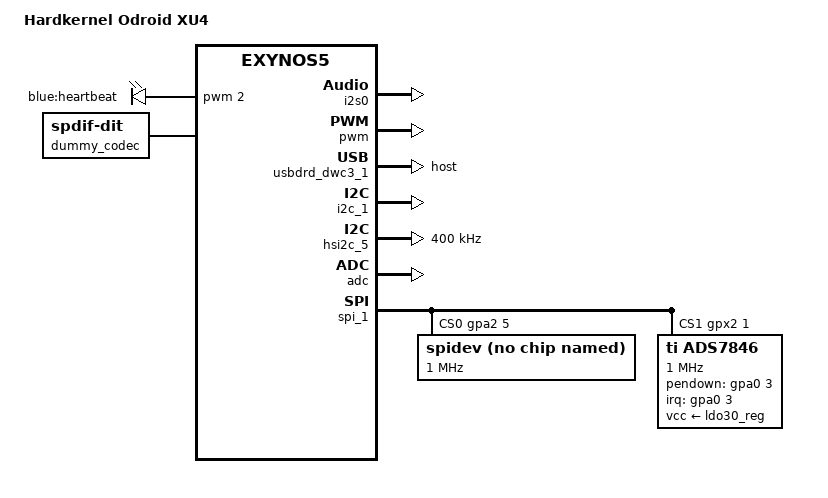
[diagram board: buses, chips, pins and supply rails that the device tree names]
/*
 * Hardkernel Odroid XU4 board device tree source
 *
 * Copyright (c) 2015 Krzysztof Kozlowski
 * Copyright (c) 2014 Collabora Ltd.
 * Copyright (c) 2013-2015 Samsung Electronics Co., Ltd.
 *		http://www.samsung.com
 *
 * This program is free software; you can redistribute it and/or modify
 * it under the terms of the GNU General Public License version 2 as
 * published by the Free Software Foundation.
*/

/dts-v1/;
#include <dt-bindings/sound/samsung-i2s.h>
#include "exynos5422-odroidxu3-common.dtsi"
#include <dt-bindings/gpio/gpio.h>

/ {
	model = "Hardkernel Odroid XU4";
	compatible = "hardkernel,odroid-xu4", "samsung,exynos5800", \
		     "samsung,exynos5";

	pwmleds {
		compatible = "pwm-leds";

		blueled {
			label = "blue:heartbeat";
			pwms = <&pwm 2 2000000 0>;
			pwm-names = "pwm2";
			max_brightness = <255>;
			linux,default-trigger = "heartbeat";
		};
	};

	dummy_codec: spdif-transmitter {
		compatible = "linux,spdif-dit";
		#sound-dai-cells = <0>;
		status = "okay";
	};

	sound: sound {
		compatible = "samsung,odroid-xu3-audio";
		model = "Odroid-XU4";

		clocks = <&clock CLK_FOUT_EPLL>,
			<&clock CLK_MOUT_EPLL>,
			<&clock CLK_MOUT_MAU_EPLL>,
			<&clock CLK_MOUT_USER_MAU_EPLL>,
			<&clock_audss EXYNOS_MOUT_AUDSS>,
			<&clock_audss EXYNOS_MOUT_I2S>,
			<&clock_audss EXYNOS_DOUT_SRP>,
			<&clock_audss EXYNOS_DOUT_AUD_BUS>,
			<&clock CLK_MAU_EPLL>;
		clock-names = "fout_epll", "mout_sclk_epll",
			"mout_mau_epll","mout_mau_epll_user",
			"mout_audss", "mout_i2s",
			"dout_srp","dout_aud_bus",
			"mau_epll_clk";

		cpu {
			sound-dai = <&i2s0 0>;
		};

		codec {
			sound-dai = <&dummy_codec>, <&hdmi>;
		};
	};
};

&i2s0 {
	status = "okay";
};

&pwm {
	/*
	 * PWM 0 -- fan
	 * PWM 2 -- Blue LED
	 */
	pinctrl-0 = <&pwm0_out &pwm2_out>;
	pinctrl-names = "default";
	samsung,pwm-outputs = <0>, <2>;
	status = "okay";
};

&usbdrd_dwc3_1 {
	dr_mode = "host";
};

/* i2c@12C70000 */
&i2c_1 {
	status = "okay";
	samsung,i2c-max-bus-freq = <400000>;
};

/* i2c@12cb0000 */
&hsi2c_5 {
	status = "okay";
	samsung,hs-mode;
	clock-frequency = <400000>;

	/* Hardkernel I2C 3.5" Touchscreen */
	/* drivers/input/sx865x.c */
	sx865x: sx865x@49	{
		status = "disabled";
		compatible = "semtech,sx8650";
		reg = <0x49>;
		#clock-cells = <0>;

		/* H/W Pin control setup */
		gpio-pendown = <&gpx3 1 GPIO_ACTIVE_HIGH>;
		gpio-reset   = <&gpx2 5 GPIO_ACTIVE_LOW>;

		/* platform data setup */
		invert-x = <0>;
		invert-y = <1>;
		swap-xy = <1>;
	};
};

&adc {
	status = "okay";
	vdd-supply = <&ldo4_reg>;
};

&spi_1 {
	status = "okay";

	assigned-clocks = <&clock CLK_MOUT_SPI1>, <&clock CLK_DOUT_SPI1>;
	assigned-clock-parents = <&clock CLK_MOUT_DPLL>;
	assigned-clock-rates = <0>, <80000000>;

	samsung,spi-src-clk = <0>;
	num-cs = <2>;
	cs-gpios = <&gpa2 5 GPIO_ACTIVE_HIGH>, <&gpx2 1 GPIO_ACTIVE_HIGH>;

	spidev: spidev@0 {
		reg = <0>;
		compatible = "spidev";
		spi-max-frequency = <1000000>;

		controller-data {
			cs-gpio = <&gpa2 5 GPIO_ACTIVE_HIGH>;
			samsung,spi-feedback-delay = <0>;
		};
	};

	ads7846: ads7846@1 {
		reg = <1>;
		compatible = "ti,ads7846";
		interrupt-parent = <&gpa0>;
		interrupts = <3 3>;
		spi-max-frequency = <1000000>;
		pendown-gpio = <&gpa0 3 GPIO_ACTIVE_HIGH>;
		vcc-supply = <&ldo30_reg>;

		ti,swap-xy = <1>;
		ti,x-min = /bits/ 16 <0>;
		ti,x-max = /bits/ 16 <8000>;
		ti,y-min = /bits/ 16 <0>;
		ti,y-max = /bits/ 16 <4800>;
		ti,x-plate-ohms = /bits/ 16 <40>;
		ti,pressure-max = /bits/ 16 <255>;

		linux,wakeup;

		controller-data {
			cs-gpio = <&gpx2 1 GPIO_ACTIVE_HIGH>;
			samsung,spi-feedback-delay = <0>;
		};
	};
};
